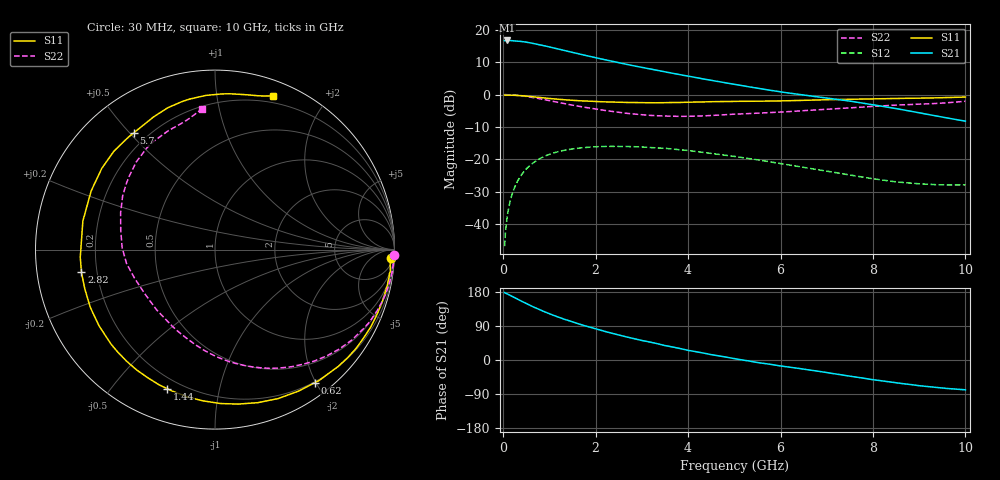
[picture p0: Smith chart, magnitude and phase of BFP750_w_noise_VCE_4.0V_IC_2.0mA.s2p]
! Infineon Technologies  Discrete & RF Semiconductors
! BFP750
! VCE =  4.0 V,  IC =  2.0 mA
! Common Emitter S-Parameters:  Jan 2016
# GHz  S  MA  R  50
!  f  S11  S21  S12  S22
! GHz  MAG  ANG  MAG  ANG  MAG  ANG  MAG  ANG
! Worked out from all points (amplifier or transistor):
!   229 points, 30 MHz to 10 GHz, reference 50 ohm
!   highest |S21| = 16.7 dB at 80 MHz (marker M1)
!   |S21| within 3 dB of that: start of sweep to 1.298 GHz
!   unconditionally stable (mu >= 1): 6.004 GHz to end of sweep
!   at 280 MHz: K = 0.04, MSG = 22.0 dB, |S12| = -27.6 dB
!   at 1.78 GHz: K = 0.18, MSG = 14.2 dB, |S12| = -16.3 dB
!   at 10 GHz: K = 1.66, MAG = 5.1 dB, |S12| = -27.9 dB
!   lowest NFmin = 0.61 dB at 450 MHz
!   S11 on the Smith chart (normalised r, x): 30 MHz: 15, -38; 620 MHz: 0.19, -1.99; 1.44 GHz: 0.15, -0.70; 2.82 GHz: 0.14, -0.08; 5.7 GHz: 0.15, +0.51; 10 GHz: 0.14, +1.44
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0.03  0.9818 -2.6  6.759 178.0  0.0046 85.9  0.9977 -1.7
0.05  0.9788 -4.4  6.816 176.2  0.0077 85.2  0.9978 -2.8
0.08  0.9846 -7.1  6.819 175.0  0.0122 84.5  0.9969 -4.6
0.17  0.9769 -15.1  6.784 169.2  0.0258 79.3  0.9907 -9.8
0.3  0.9689 -26.4  6.695 161.2  0.0448 72.4  0.9755 -17.2
0.45  0.9535 -39.1  6.501 151.9  0.0652 64.1  0.9488 -25.5
0.62  0.9271 -53.1  6.195 141.9  0.0855 54.8  0.9078 -34.5
0.8  0.9015 -67.0  5.843 132.1  0.1039 45.9  0.8602 -43.4
1  0.8705 -81.4  5.421 122.0  0.1199 36.8  0.8054 -52.5
1.2  0.8453 -94.6  5.015 112.8  0.1324 28.6  0.7542 -61.0
1.44  0.8195 -109.0  4.565 102.7  0.143 19.7  0.6983 -70.1
1.7  0.7999 -123.1  4.139 92.7  0.1511 11.1  0.6473 -79.2
1.94  0.7852 -134.9  3.78 84.1  0.1558 3.9  0.6068 -87.1
2.2  0.7731 -146.7  3.444 75.3  0.1587 -3.5  0.569 -95.2
2.82  0.7541 -170.6  2.776 56.6  0.1574 -19.0  0.5016 -113.8
3.4  0.7485 170.9  2.306 41.1  0.1495 -31.7  0.4691 -131.1
4  0.7635 154.7  1.925 25.5  0.1373 -43.6  0.4623 -148.3
5.1  0.7858 134.1  1.398 1.6  0.1087 -59.6  0.5014 -173.2
5.7  0.7922 124.9  1.187 -10.0  0.0936 -66.0  0.5231 174.4
6.8  0.8244 111.0  0.922 -29.4  0.0697 -72.3  0.5816 153.2
8.4  0.8682 87.5  0.625 -58.5  0.046 -67.8  0.6822 123.7
10  0.9153 69.4  0.389 -78.7  0.0405 -51.7  0.7876 95.3
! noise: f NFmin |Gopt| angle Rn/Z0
0.45  0.61  0.56  1  0.26
0.9  0.69  0.53  35  0.2
1.5  0.83  0.46  73  0.16
1.9  0.94  0.43  94  0.13
2.4  1.1  0.41  119  0.13
3.5  1.68  0.43  163  0.08
